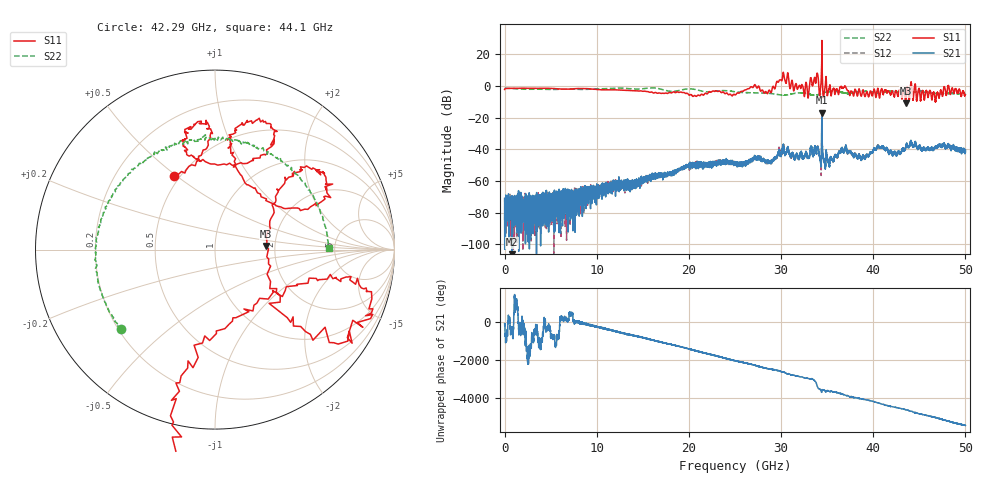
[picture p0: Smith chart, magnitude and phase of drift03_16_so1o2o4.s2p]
!Created with skrf (http://scikit-rf.org).
# Hz S RI R 50.0
!freq ReS11 ImS11 ReS21 ImS21 ReS12 ImS12 ReS22 ImS22
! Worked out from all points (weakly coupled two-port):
!   10000 points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, 5.3 MHz to 50 GHz, reference 50 ohm
!   highest |S21| = -16.75 dB at 34.43 GHz (marker M1); lowest = -112.9 dB at 795.3 MHz (marker M2)
!   lowest |S11| = -11.0 dB at 43.52 GHz (marker M3), VSWR 1.79, Z = 89.2 + j3.86 ohm
!   |S11| at or under -10 dB: 43.50358 GHz to 43.54267 GHz (39.09 MHz wide, 0.0898 % of centre); 46.74915 GHz to 46.75073 GHz (1.586 MHz wide, 0.00339 % of centre)
!   |S22| runs from -5.8 to -1.1 dB; largest |S21 - S12| = 0.041
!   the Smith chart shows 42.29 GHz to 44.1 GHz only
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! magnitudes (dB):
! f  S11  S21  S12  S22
! 5.3 MHz  -2.1  -70.9  -84.5  -1.3
! 795.3 MHz  -1.4  -112.9  -88.0  -1.5
! 5.005 GHz  -1.5  -76.2  -85.4  -2.1
! 8.34 GHz  -1.5  -64.3  -69.6  -2.1
! 16.67 GHz  -4.4  -56.0  -56.6  -1.5
! 20.36 GHz  -6.1  -50.0  -49.4  -1.8
! 25.01 GHz  -5.5  -49.5  -48.2  -3.5
! 27.02 GHz  -0.4  -45.8  -45.6  -4.2
! 28.72 GHz  -2.5  -48.0  -48.5  -4.5
! 30.14 GHz  4.4  -39.1  -40.8  -5.7
! 32.74 GHz  2.0  -42.4  -42.3  -4.6
! 33.34 GHz  2.6  -39.9  -40.2  -5.7
! 33.82 GHz  3.9  -41.4  -42.1  -5.7
! 34.43 GHz  28.9  -16.7  -18.3  -4.5
! 35.32 GHz  0.8  -46.2  -46.4  -3.4
! 36.84 GHz  -0.7  -42.0  -41.4  -4.2
! 38.87 GHz  -2.6  -44.2  -44.0  -3.2
! 40.61 GHz  -4.9  -38.4  -38.5  -4.0
! 41.67 GHz  -3.2  -42.0  -42.3  -3.3
! 43.52 GHz  -11.0  -38.8  -38.6  -4.2
! 48.32 GHz  -4.4  -38.2  -37.3  -4.5
! 50 GHz  -5.4  -40.3  -40.9  -4.6
